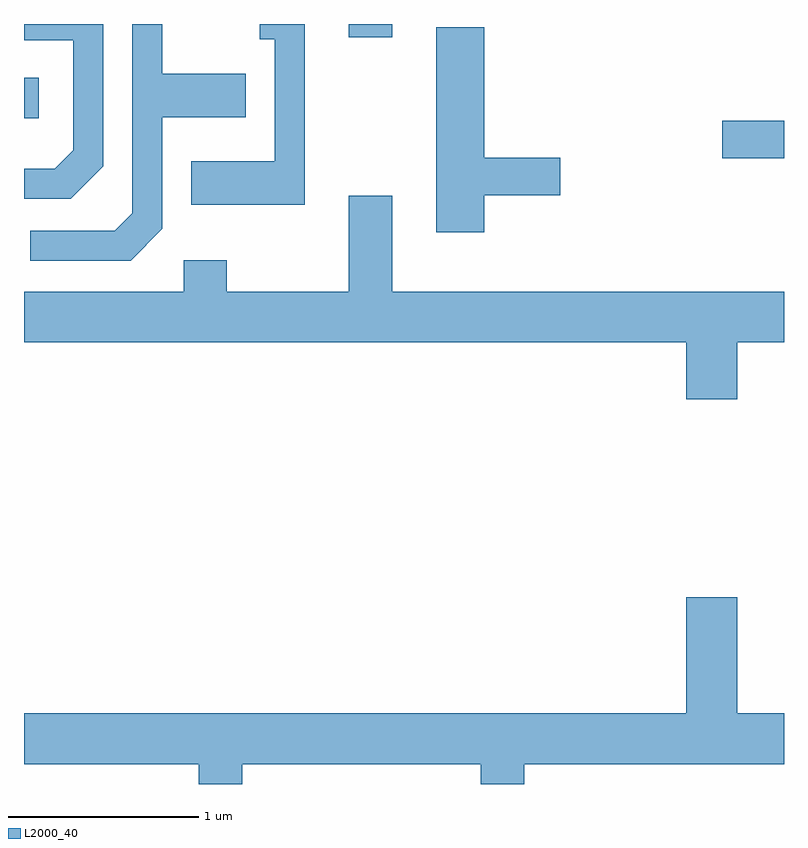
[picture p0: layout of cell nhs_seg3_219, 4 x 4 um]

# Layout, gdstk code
import gdstk
lib = gdstk.Library(unit=1e-6, precision=1e-09)
def R(c, l, rs):  # rectangles x0, y0, x1, y1
    for r in rs: c.add(gdstk.rectangle(r[:2], r[2:], *l))
def P(c, l, *ps):  # polygons
    for p in ps: c.add(gdstk.Polygon(p, *l))
L2000_40 = (2000, 40)

nhs_seg3_219 = lib.new_cell('nhs_seg3_219')
R(nhs_seg3_219, L2000_40, [(195.286,1149.186,195.611,1149.384), (191.611,1149.396,191.689,1149.609), (193.321,1149.821,193.549,1149.892)])
P(nhs_seg3_219, L2000_40, [(192.339,1148.814),(192.339,1149.401),(192.779,1149.401),(192.779,1149.629),(192.339,1149.629),(192.339,1149.892),(192.181,1149.892),(192.181,1148.897),(192.089,1148.804),(191.643,1148.804),(191.643,1148.646),(192.172,1148.646)],
  [(192.029,1149.144),(192.029,1149.892),(191.611,1149.892),(191.611,1149.806),(191.871,1149.806),(191.871,1149.227),(191.774,1149.129),(191.611,1149.129),(191.611,1148.971),(191.857,1148.971)],
  [(193.089,1149.892),(192.853,1149.892),(192.853,1149.811),(192.931,1149.811),(192.931,1149.169),(192.491,1149.169),(192.491,1148.941),(193.089,1148.941)],
  [(194.034,1148.991),(194.434,1148.991),(194.434,1149.189),(194.034,1149.189),(194.034,1149.874),(193.781,1149.874),(193.781,1148.796),(194.034,1148.796)],
  [(195.364,1148.216),(195.611,1148.216),(195.611,1148.484),(193.549,1148.484),(193.549,1148.989),(193.321,1148.989),(193.321,1148.484),(192.679,1148.484),(192.679,1148.649),(192.451,1148.649),(192.451,1148.484),(191.611,1148.484),(191.611,1148.216),(195.096,1148.216),(195.096,1147.916),(195.364,1147.916)],
  [(192.759,1145.996),(194.016,1145.996),(194.016,1145.892),(194.244,1145.892),(194.244,1145.996),(195.611,1145.996),(195.611,1146.264),(195.364,1146.264),(195.364,1146.874),(195.096,1146.874),(195.096,1146.264),(191.611,1146.264),(191.611,1145.996),(192.531,1145.996),(192.531,1145.892),(192.759,1145.892)])

lib.write_gds('nhs_seg3_219.gds')
